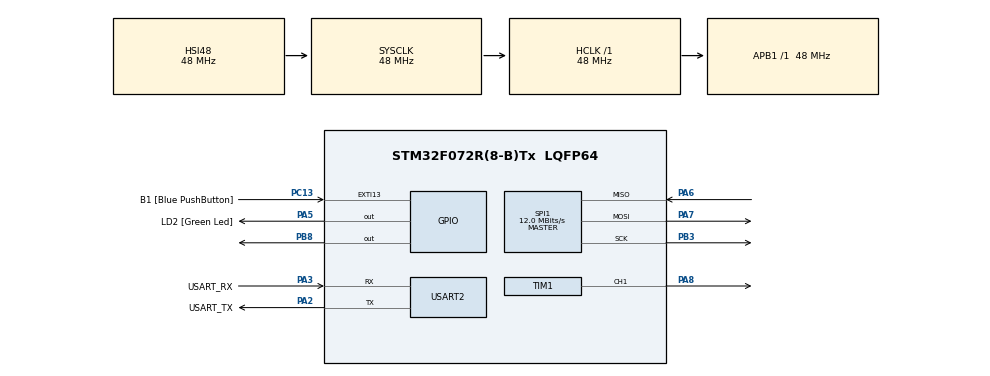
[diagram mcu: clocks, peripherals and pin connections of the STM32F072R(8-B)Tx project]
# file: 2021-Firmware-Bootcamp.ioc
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Mcu.Family=STM32F0
Mcu.Name=STM32F072R(8-B)Tx
Mcu.Package=LQFP64
PA13.GPIO_Label=TMS
PA13.Mode=Serial_Wire
PA13.Signal=SYS_SWDIO
PA14.GPIO_Label=TCK
PA14.Mode=Serial_Wire
PA14.Signal=SYS_SWCLK
PA2.GPIO_Label=USART_TX
PA2.GPIO_Mode=GPIO_MODE_AF_PP
PA2.GPIO_PuPd=GPIO_NOPULL
PA2.GPIO_Speed=GPIO_SPEED_FREQ_LOW
PA2.Mode=Asynchronous
PA2.Signal=USART2_TX
PA3.GPIO_Label=USART_RX
PA3.GPIO_Mode=GPIO_MODE_AF_PP
PA3.GPIO_PuPd=GPIO_NOPULL
PA3.GPIO_Speed=GPIO_SPEED_FREQ_LOW
PA3.Mode=Asynchronous
PA3.Signal=USART2_RX
PA5.GPIO_Label=LD2 [Green Led]
PA5.GPIO_Mode=GPIO_MODE_OUTPUT_PP
PA5.GPIO_PuPd=GPIO_NOPULL
PA5.GPIO_Speed=GPIO_SPEED_FREQ_LOW
PA5.Signal=GPIO_Output
PA6.Mode=Full_Duplex_Master
PA6.Signal=SPI1_MISO
PA7.Mode=Full_Duplex_Master
PA7.Signal=SPI1_MOSI
PA8.Signal=S_TIM1_CH1
PB3.Mode=Full_Duplex_Master
PB3.Signal=SPI1_SCK
PB8.Signal=GPIO_Output
PC13.GPIO_Label=B1 [Blue PushButton]
PC13.GPIO_ModeDefaultEXTI=GPIO_MODE_IT_FALLING
PC13.Signal=GPXTI13
PC14-OSC32_IN.Mode=LSE-External-Oscillator
PC14-OSC32_IN.Signal=RCC_OSC32_IN
PC15-OSC32_OUT.Mode=LSE-External-Oscillator
PC15-OSC32_OUT.Signal=RCC_OSC32_OUT
PF0-OSC_IN.Mode=HSE-External-Clock-Source
PF0-OSC_IN.Signal=RCC_OSC_IN
PF1-OSC_OUT.Signal=RCC_OSC_OUT
ProjectManager.HeapSize=0x200
ProjectManager.StackSize=0x400
ProjectManager.TargetToolchain=STM32CubeIDE
RCC.AHBFreq_Value=48000000
RCC.APB1Freq_Value=48000000
RCC.APB1TimFreq_Value=48000000
RCC.FLatency-AdvancedSettings=FLASH_LATENCY_1
RCC.HCLKFreq_Value=48000000
RCC.PLLDivider=RCC_PREDIV_DIV2
RCC.PLLMUL=RCC_PLL_MUL12
RCC.PREFETCH_ENABLE-AdvancedSettings=1
RCC.SYSCLKFreq_VALUE=48000000
RCC.SYSCLKSource=RCC_SYSCLKSOURCE_HSI48
SH.S_TIM1_CH1.0=TIM1_CH1,PWM Generation1 CH1
SPI1.BaudRatePrescaler=SPI_BAUDRATEPRESCALER_4
SPI1.CalculateBaudRate=12.0 MBits/s
SPI1.Direction=SPI_DIRECTION_2LINES
SPI1.Mode=SPI_MODE_MASTER
SPI1.VirtualType=VM_MASTER
TIM1.Channel-PWM\ Generation1\ CH1=TIM_CHANNEL_1
TIM1.Period=60000
TIM1.Prescaler=15
TIM1.Pulse-PWM\ Generation1\ CH1=4200
USART2.VirtualMode=VM_ASYNC
USART2.VirtualMode-Asynchronous=VM_ASYNC
VP_TIM1_VS_ClockSourceINT.Mode=Internal
board=NUCLEO-F072RB

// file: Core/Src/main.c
/* USER CODE BEGIN Header */
/**
  ******************************************************************************
  * @file           : main.c
  * @brief          : Main program body
  ******************************************************************************
  * @attention
  *
  * <h2><center>&copy; Copyright (c) 2022 STMicroelectronics.
  * All rights reserved.</center></h2>
  *
  * This software component is licensed by ST under BSD 3-Clause license,
  * the "License"; You may not use this file except in compliance with the
  * License. You may obtain a copy of the License at:
  *                        opensource.org/licenses/BSD-3-Clause
  *
  ******************************************************************************
  */
/* USER CODE END Header */
#include "main.h"
#include "spi.h"
#include "tim.h"
#include "usart.h"
#include "gpio.h"

void SystemClock_Config(void);

int main(void)
{

  /* MCU Configuration--------------------------------------------------------*/

  /* Reset of all peripherals, Initializes the Flash interface and the Systick. */
  HAL_Init();

  /* Configure the system clock */
  SystemClock_Config();

  /* Initialize all configured peripherals */
  MX_GPIO_Init();
  MX_USART2_UART_Init();
  MX_SPI1_Init();
  MX_TIM1_Init();
  /* USER CODE BEGIN 2 */
  HAL_TIM_PWM_Start(&htim1, TIM_CHANNEL_1);
  HAL_SPI_Init(&hspi1);

  //configuration code for using MCP 3004 CH1
  uint8_t const MOPI[3] = {0b00000001, 0b10010000, 0b00000000};
  //the data come from ADC to board
  uint8_t MIPO[3];

  /* USER CODE END 2 */

  /* Infinite loop */
  while (1)
  {

    /* USER CODE BEGIN 3 */

	  //use chip select bring it low
	  HAL_GPIO_WritePin(GPIOB, GPIO_PIN_8, GPIO_PIN_RESET);//0 means selected/ON
	  //configure code send from board to ADC
	  HAL_SPI_Transmit(&hspi1, MOPI, 3, 20);
	  //data received from ADC to board
	  HAL_SPI_Receive(&hspi1, MIPO, 3, 20);

	  //use chip select bring it high
	  HAL_GPIO_WritePin(GPIOB, GPIO_PIN_8, GPIO_PIN_SET);// 1 means OFF

	  //Calculation Part
	  //get ADC value
	  MIPO[1] &= 5; //get last two bits
	  int ADC_Value = MIPO[1];
	  ADC_Value = (ADC_Value << 8) | MIPO[0];

	  //get the duty cycle for PWM
	  float duty_cycle = ADC_Value / 1023;
	  int const CLK_Count = 600000;
	  int pulse_width = duty_cycle * CLK_Count * 0.05 + CLK_Count * 0.05;
	  __HAL_TIM_SetCompare(&htim1, TIM_CHANNEL_1, pulse_width);

  }
  /* USER CODE END 3 */
}

void SystemClock_Config(void)
{
  RCC_OscInitTypeDef RCC_OscInitStruct = {0};
  RCC_ClkInitTypeDef RCC_ClkInitStruct = {0};
  RCC_PeriphCLKInitTypeDef PeriphClkInit = {0};

  /** Initializes the RCC Oscillators according to the specified parameters
  * in the RCC_OscInitTypeDef structure.
  */
  RCC_OscInitStruct.OscillatorType = RCC_OSCILLATORTYPE_HSI48;
  RCC_OscInitStruct.HSI48State = RCC_HSI48_ON;
  RCC_OscInitStruct.PLL.PLLState = RCC_PLL_NONE;
  if (HAL_RCC_OscConfig(&RCC_OscInitStruct) != HAL_OK)
  {
    Error_Handler();
  }
  /** Initializes the CPU, AHB and APB buses clocks
  */
  RCC_ClkInitStruct.ClockType = RCC_CLOCKTYPE_HCLK|RCC_CLOCKTYPE_SYSCLK
                              |RCC_CLOCKTYPE_PCLK1;
  RCC_ClkInitStruct.SYSCLKSource = RCC_SYSCLKSOURCE_HSI48;
  RCC_ClkInitStruct.AHBCLKDivider = RCC_SYSCLK_DIV1;
  RCC_ClkInitStruct.APB1CLKDivider = RCC_HCLK_DIV1;

  if (HAL_RCC_ClockConfig(&RCC_ClkInitStruct, FLASH_LATENCY_1) != HAL_OK)
  {
    Error_Handler();
  }
  PeriphClkInit.PeriphClockSelection = RCC_PERIPHCLK_USART2;
  PeriphClkInit.Usart2ClockSelection = RCC_USART2CLKSOURCE_PCLK1;
  if (HAL_RCCEx_PeriphCLKConfig(&PeriphClkInit) != HAL_OK)
  {
    Error_Handler();
  }
}

void Error_Handler(void)
{
  __disable_irq();
  while (1)
  {
  }
}

/************************ (C) COPYRIGHT STMicroelectronics *****END OF FILE****/
